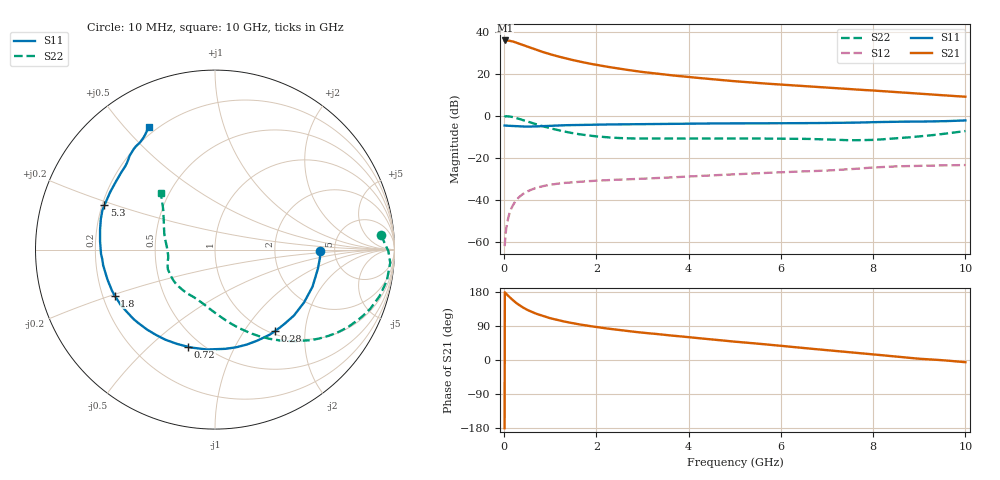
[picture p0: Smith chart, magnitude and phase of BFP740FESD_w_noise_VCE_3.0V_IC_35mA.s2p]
! Infineon Technologies  Discrete & RF Semiconductors
! BFP740FESD
! VCE =  3.0 V,  IC =  35 mA
! Common Emitter S-Parameters:  Jan 2016
# GHz  S  MA  R  50
!  f  S11  S21  S12  S22
! GHz  MAG  ANG  MAG  ANG  MAG  ANG  MAG  ANG
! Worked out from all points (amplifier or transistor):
!   233 points, 10 MHz to 10 GHz, reference 50 ohm
!   highest |S21| = 35.8 dB at 20 MHz (marker M1)
!   |S21| within 3 dB of that: start of sweep to 508.9 MHz
!   unconditionally stable (mu >= 1): 5.083 GHz to end of sweep
!   at 200 MHz: K = 0.14, MSG = 38.7 dB, |S12| = -42.2 dB
!   at 1.74 GHz: K = 0.58, MSG = 28.2 dB, |S12| = -31.2 dB
!   at 10 GHz: K = 1.12, MAG = 14.1 dB, |S12| = -23.4 dB
!   lowest NFmin = 1.06 dB at 450 MHz
!   S11 on the Smith chart (normalised r, x): 10 MHz: 3.83, -0.12; 280 MHz: 1.05, -1.40; 720 MHz: 0.42, -0.67; 1.8 GHz: 0.25, -0.21; 5.3 GHz: 0.21, +0.18; 10 GHz: 0.17, +0.58
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0.01  0.5866 -1.0  61.48 -179.8  0.0008 102.7  0.9282 5.0
0.02  0.5864 -4.5  61.7 177.5  0.0011 97.8  0.9659 -0.5
0.1  0.5814 -20.8  61.15 168.3  0.0042 81.7  0.973 -10.3
0.15  0.5769 -30.7  59.71 162.3  0.0061 77.2  0.9528 -15.8
0.2  0.5731 -39.9  57.82 156.9  0.0078 73.6  0.9255 -20.9
0.28  0.5634 -53.7  54.02 149.0  0.0104 68.3  0.874 -27.9
0.36  0.5586 -66.0  50.29 142.3  0.0127 63.7  0.821 -34.4
0.45  0.557 -77.9  46.17 135.7  0.0149 59.4  0.7632 -40.5
0.6  0.5584 -94.7  40.15 126.6  0.0178 53.5  0.6751 -49.2
0.72  0.5621 -105.6  36.17 121.1  0.0198 50.0  0.6163 -55.0
0.9  0.5731 -118.8  31.26 113.7  0.022 45.6  0.5421 -62.9
1.12  0.5854 -131.3  26.64 106.6  0.0241 41.8  0.4704 -71.2
1.4  0.6001 -143.4  22.22 99.1  0.0259 38.3  0.4032 -80.6
1.68  0.611 -152.4  19.03 93.0  0.0274 36.2  0.3584 -88.6
1.8  0.6147 -155.4  17.85 90.7  0.0279 35.7  0.3443 -91.7
2.6  0.6291 -172.0  12.67 77.4  0.0308 33.8  0.2936 -110.5
3.4  0.6402 177.0  9.757 67.4  0.0335 34.5  0.2888 -122.0
5.1  0.6642 159.9  6.503 47.4  0.0412 35.6  0.289 -139.6
5.3  0.6635 158.2  6.249 45.3  0.0421 35.5  0.2886 -141.5
6.8  0.673 142.6  4.821 28.2  0.0491 34.8  0.2788 -161.2
8.4  0.72 129.0  3.725 10.0  0.0622 31.4  0.2868 166.9
10  0.7771 118.3  2.847 -5.8  0.0677 22.9  0.435 134.0
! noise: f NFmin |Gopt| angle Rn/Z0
0.45  1.06  0.21  -171  0.08
2.4  1.1  0.22  -158  0.09
5.5  1.26  0.25  -159  0.1
10  1.79  0.43  -113  0.25
